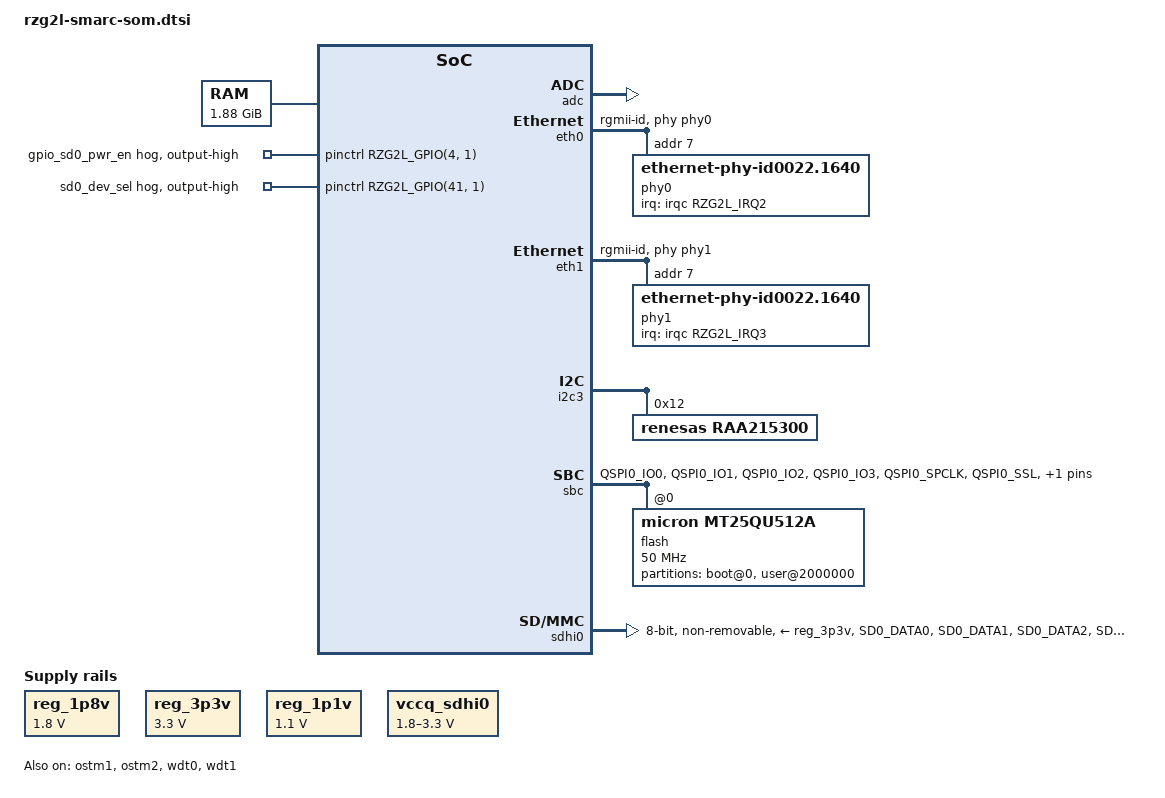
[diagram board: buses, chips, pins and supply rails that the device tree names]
// SPDX-License-Identifier: (GPL-2.0-only OR BSD-2-Clause)
/*
 * Device Tree Source for the RZ/{G2L,V2L} SMARC SOM common parts
 *
 * Copyright (C) 2021 Renesas Electronics Corp.
 */

#include <dt-bindings/gpio/gpio.h>
#include <dt-bindings/interrupt-controller/irqc-rzg2l.h>
#include <dt-bindings/pinctrl/rzg2l-pinctrl.h>

/* SW1[2] should be at position 2/OFF to enable 64 GB eMMC */
#define EMMC	1

/*
 * To enable uSD card on CN3,
 * SW1[2] should be at position 3/ON.
 * Disable eMMC by setting "#define EMMC	0" above.
 */
#define SDHI	(!EMMC)

/ {
	aliases {
		ethernet0 = &eth0;
		ethernet1 = &eth1;
	};

	chosen {
		bootargs = "ignore_loglevel rw root=/dev/nfs ip=on";
	};

	memory@48000000 {
		device_type = "memory";
		/* first 128MB is reserved for secure area. */
		reg = <0x0 0x48000000 0x0 0x78000000>;
	};

	reg_1p8v: regulator-1p8v {
		compatible = "regulator-fixed";
		regulator-name = "fixed-1.8V";
		regulator-min-microvolt = <1800000>;
		regulator-max-microvolt = <1800000>;
		regulator-boot-on;
		regulator-always-on;
	};

	reg_3p3v: regulator-3p3v {
		compatible = "regulator-fixed";
		regulator-name = "fixed-3.3V";
		regulator-min-microvolt = <3300000>;
		regulator-max-microvolt = <3300000>;
		regulator-boot-on;
		regulator-always-on;
	};

	reg_1p1v: regulator-vdd-core {
		compatible = "regulator-fixed";
		regulator-name = "fixed-1.1V";
		regulator-min-microvolt = <1100000>;
		regulator-max-microvolt = <1100000>;
		regulator-boot-on;
		regulator-always-on;
	};

	vccq_sdhi0: regulator-vccq-sdhi0 {
		compatible = "regulator-gpio";

		regulator-name = "SDHI0 VccQ";
		regulator-min-microvolt = <1800000>;
		regulator-max-microvolt = <3300000>;
		states = <3300000 1>, <1800000 0>;
		regulator-boot-on;
		gpios = <&pinctrl RZG2L_GPIO(39, 0) GPIO_ACTIVE_HIGH>;
		regulator-always-on;
	};

	/* 32.768kHz crystal */
	x2: x2-clock {
		compatible = "fixed-clock";
		#clock-cells = <0>;
		clock-frequency = <32768>;
	};
};

&adc {
	pinctrl-0 = <&adc_pins>;
	pinctrl-names = "default";
	status = "okay";

	/delete-node/ channel@6;
	/delete-node/ channel@7;
};

&eth0 {
	pinctrl-0 = <&eth0_pins>;
	pinctrl-names = "default";
	phy-handle = <&phy0>;
	phy-mode = "rgmii-id";
	status = "okay";

	phy0: ethernet-phy@7 {
		compatible = "ethernet-phy-id0022.1640",
			     "ethernet-phy-ieee802.3-c22";
		reg = <7>;
		interrupt-parent = <&irqc>;
		interrupts = <RZG2L_IRQ2 IRQ_TYPE_LEVEL_LOW>;
		rxc-skew-psec = <2400>;
		txc-skew-psec = <2400>;
		rxdv-skew-psec = <0>;
		txen-skew-psec = <0>;
		rxd0-skew-psec = <0>;
		rxd1-skew-psec = <0>;
		rxd2-skew-psec = <0>;
		rxd3-skew-psec = <0>;
		txd0-skew-psec = <0>;
		txd1-skew-psec = <0>;
		txd2-skew-psec = <0>;
		txd3-skew-psec = <0>;
	};
};

&eth1 {
	pinctrl-0 = <&eth1_pins>;
	pinctrl-names = "default";
	phy-handle = <&phy1>;
	phy-mode = "rgmii-id";
	status = "okay";

	phy1: ethernet-phy@7 {
		compatible = "ethernet-phy-id0022.1640",
			     "ethernet-phy-ieee802.3-c22";
		reg = <7>;
		interrupt-parent = <&irqc>;
		interrupts = <RZG2L_IRQ3 IRQ_TYPE_LEVEL_LOW>;
		rxc-skew-psec = <2400>;
		txc-skew-psec = <2400>;
		rxdv-skew-psec = <0>;
		txen-skew-psec = <0>;
		rxd0-skew-psec = <0>;
		rxd1-skew-psec = <0>;
		rxd2-skew-psec = <0>;
		rxd3-skew-psec = <0>;
		txd0-skew-psec = <0>;
		txd1-skew-psec = <0>;
		txd2-skew-psec = <0>;
		txd3-skew-psec = <0>;
	};
};

&extal_clk {
	clock-frequency = <24000000>;
};

&gpu {
	mali-supply = <&reg_1p1v>;
};

&i2c3 {
	raa215300: pmic@12 {
		compatible = "renesas,raa215300";
		reg = <0x12>, <0x6f>;
		reg-names = "main", "rtc";

		clocks = <&x2>;
		clock-names = "xin";
	};
};

&ostm1 {
	status = "okay";
};

&ostm2 {
	status = "okay";
};

&pinctrl {
	adc_pins: adc {
		pinmux = <RZG2L_PORT_PINMUX(9, 0, 2)>; /* ADC_TRG */
	};

	eth0_pins: eth0 {
		pinmux = <RZG2L_PORT_PINMUX(28, 1, 1)>, /* ET0_LINKSTA */
			 <RZG2L_PORT_PINMUX(27, 1, 1)>, /* ET0_MDC */
			 <RZG2L_PORT_PINMUX(28, 0, 1)>, /* ET0_MDIO */
			 <RZG2L_PORT_PINMUX(20, 0, 1)>, /* ET0_TXC */
			 <RZG2L_PORT_PINMUX(20, 1, 1)>, /* ET0_TX_CTL */
			 <RZG2L_PORT_PINMUX(20, 2, 1)>, /* ET0_TXD0 */
			 <RZG2L_PORT_PINMUX(21, 0, 1)>, /* ET0_TXD1 */
			 <RZG2L_PORT_PINMUX(21, 1, 1)>, /* ET0_TXD2 */
			 <RZG2L_PORT_PINMUX(22, 0, 1)>, /* ET0_TXD3 */
			 <RZG2L_PORT_PINMUX(24, 0, 1)>, /* ET0_RXC */
			 <RZG2L_PORT_PINMUX(24, 1, 1)>, /* ET0_RX_CTL */
			 <RZG2L_PORT_PINMUX(25, 0, 1)>, /* ET0_RXD0 */
			 <RZG2L_PORT_PINMUX(25, 1, 1)>, /* ET0_RXD1 */
			 <RZG2L_PORT_PINMUX(26, 0, 1)>, /* ET0_RXD2 */
			 <RZG2L_PORT_PINMUX(26, 1, 1)>, /* ET0_RXD3 */
			 <RZG2L_PORT_PINMUX(1, 0, 1)>;  /* IRQ2 */
	};

	eth1_pins: eth1 {
		pinmux = <RZG2L_PORT_PINMUX(37, 2, 1)>, /* ET1_LINKSTA */
			 <RZG2L_PORT_PINMUX(37, 0, 1)>, /* ET1_MDC */
			 <RZG2L_PORT_PINMUX(37, 1, 1)>, /* ET1_MDIO */
			 <RZG2L_PORT_PINMUX(29, 0, 1)>, /* ET1_TXC */
			 <RZG2L_PORT_PINMUX(29, 1, 1)>, /* ET1_TX_CTL */
			 <RZG2L_PORT_PINMUX(30, 0, 1)>, /* ET1_TXD0 */
			 <RZG2L_PORT_PINMUX(30, 1, 1)>, /* ET1_TXD1 */
			 <RZG2L_PORT_PINMUX(31, 0, 1)>, /* ET1_TXD2 */
			 <RZG2L_PORT_PINMUX(31, 1, 1)>, /* ET1_TXD3 */
			 <RZG2L_PORT_PINMUX(33, 1, 1)>, /* ET1_RXC */
			 <RZG2L_PORT_PINMUX(34, 0, 1)>, /* ET1_RX_CTL */
			 <RZG2L_PORT_PINMUX(34, 1, 1)>, /* ET1_RXD0 */
			 <RZG2L_PORT_PINMUX(35, 0, 1)>, /* ET1_RXD1 */
			 <RZG2L_PORT_PINMUX(35, 1, 1)>, /* ET1_RXD2 */
			 <RZG2L_PORT_PINMUX(36, 0, 1)>, /* ET1_RXD3 */
			 <RZG2L_PORT_PINMUX(1, 1, 1)>;  /* IRQ3 */
	};

	gpio-sd0-pwr-en-hog {
		gpio-hog;
		gpios = <RZG2L_GPIO(4, 1) GPIO_ACTIVE_HIGH>;
		output-high;
		line-name = "gpio_sd0_pwr_en";
	};

	qspi0_pins: qspi0 {
		qspi0-data {
			pins = "QSPI0_IO0", "QSPI0_IO1", "QSPI0_IO2", "QSPI0_IO3";
			power-source = <1800>;
		};

		qspi0-ctrl {
			pins = "QSPI0_SPCLK", "QSPI0_SSL", "QSPI_RESET#";
			power-source = <1800>;
		};
	};

	/*
	 * SD0 device selection is XOR between GPIO_SD0_DEV_SEL and SW1[2]
	 * The below switch logic can be used to select the device between
	 * eMMC and microSD, after setting GPIO_SD0_DEV_SEL to high in DT.
	 * SW1[2] should be at position 2/OFF to enable 64 GB eMMC
	 * SW1[2] should be at position 3/ON to enable uSD card CN3
	 */
	sd0-dev-sel-hog {
		gpio-hog;
		gpios = <RZG2L_GPIO(41, 1) GPIO_ACTIVE_HIGH>;
		output-high;
		line-name = "sd0_dev_sel";
	};

	sdhi0_emmc_pins: sd0emmc {
		sd0_emmc_data {
			pins = "SD0_DATA0", "SD0_DATA1", "SD0_DATA2", "SD0_DATA3",
			       "SD0_DATA4", "SD0_DATA5", "SD0_DATA6", "SD0_DATA7";
			power-source = <1800>;
		};

		sd0_emmc_ctrl {
			pins = "SD0_CLK", "SD0_CMD";
			power-source = <1800>;
		};

		sd0_emmc_rst {
			pins = "SD0_RST#";
			power-source = <1800>;
		};
	};

	sdhi0_pins: sd0 {
		sd0_data {
			pins = "SD0_DATA0", "SD0_DATA1", "SD0_DATA2", "SD0_DATA3";
			power-source = <3300>;
		};

		sd0_ctrl {
			pins = "SD0_CLK", "SD0_CMD";
			power-source = <3300>;
		};

		sd0_mux {
			pinmux = <RZG2L_PORT_PINMUX(47, 0, 2)>; /* SD0_CD */
		};
	};

	sdhi0_pins_uhs: sd0_uhs {
		sd0_data_uhs {
			pins = "SD0_DATA0", "SD0_DATA1", "SD0_DATA2", "SD0_DATA3";
			power-source = <1800>;
		};

		sd0_ctrl_uhs {
			pins = "SD0_CLK", "SD0_CMD";
			power-source = <1800>;
		};

		sd0_mux_uhs {
			pinmux = <RZG2L_PORT_PINMUX(47, 0, 2)>; /* SD0_CD */
		};
	};
};

&sbc {
	pinctrl-0 = <&qspi0_pins>;
	pinctrl-names = "default";
	status = "okay";

	flash@0 {
		compatible = "micron,mt25qu512a", "jedec,spi-nor";
		reg = <0>;
		m25p,fast-read;
		spi-max-frequency = <50000000>;
		spi-rx-bus-width = <4>;
		spi-tx-bus-width = <4>;

		partitions {
			compatible = "fixed-partitions";
			#address-cells = <1>;
			#size-cells = <1>;

			boot@0 {
				reg = <0x00000000 0x2000000>;
				read-only;
			};
			user@2000000 {
				reg = <0x2000000 0x2000000>;
			};
		};
	};
};

#if SDHI
&sdhi0 {
	pinctrl-0 = <&sdhi0_pins>;
	pinctrl-1 = <&sdhi0_pins_uhs>;
	pinctrl-names = "default", "state_uhs";

	vmmc-supply = <&reg_3p3v>;
	vqmmc-supply = <&vccq_sdhi0>;
	bus-width = <4>;
	sd-uhs-sdr50;
	sd-uhs-sdr104;
	status = "okay";
};
#endif

#if EMMC
&sdhi0 {
	pinctrl-0 = <&sdhi0_emmc_pins>;
	pinctrl-1 = <&sdhi0_emmc_pins>;
	pinctrl-names = "default", "state_uhs";

	vmmc-supply = <&reg_3p3v>;
	vqmmc-supply = <&reg_1p8v>;
	bus-width = <8>;
	mmc-hs200-1_8v;
	non-removable;
	fixed-emmc-driver-type = <1>;
	status = "okay";
};
#endif

&wdt0 {
	status = "okay";
	timeout-sec = <60>;
};

&wdt1 {
	status = "okay";
	timeout-sec = <60>;
};
